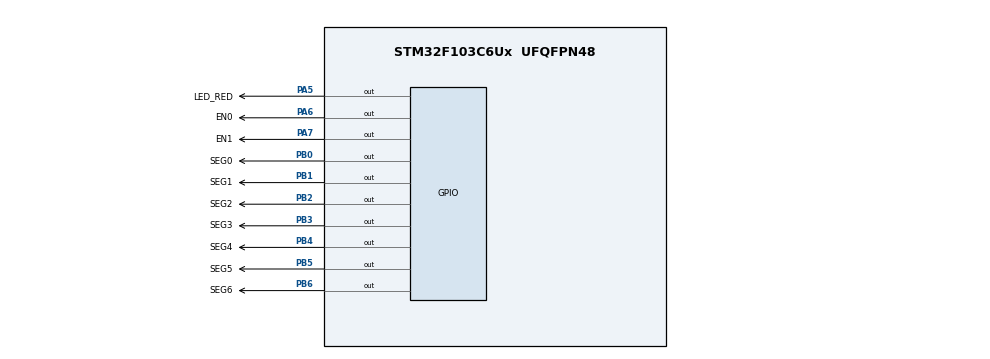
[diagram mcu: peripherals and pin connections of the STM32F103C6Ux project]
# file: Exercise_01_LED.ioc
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Mcu.Family=STM32F1
Mcu.Name=STM32F103C6Ux
Mcu.Package=UFQFPN48
NVIC.PriorityGroup=NVIC_PRIORITYGROUP_4
NVIC.TIM2_IRQn=true\:0\:0\:false\:false\:true\:true\:true\:true
PA5.GPIO_Label=LED_RED
PA5.Signal=GPIO_Output
PA6.GPIO_Label=EN0
PA6.Signal=GPIO_Output
PA7.GPIO_Label=EN1
PA7.Signal=GPIO_Output
PB0.GPIO_Label=SEG0
PB0.Signal=GPIO_Output
PB1.GPIO_Label=SEG1
PB1.Signal=GPIO_Output
PB2.GPIO_Label=SEG2
PB2.Signal=GPIO_Output
PB3.GPIO_Label=SEG3
PB3.Signal=GPIO_Output
PB4.GPIO_Label=SEG4
PB4.Signal=GPIO_Output
PB5.GPIO_Label=SEG5
PB5.Signal=GPIO_Output
PB6.GPIO_Label=SEG6
PB6.Signal=GPIO_Output
ProjectManager.HeapSize=0x200
ProjectManager.StackSize=0x400
ProjectManager.TargetToolchain=Makefile
RCC.APB1Freq_Value=8000000
RCC.APB2Freq_Value=8000000
TIM2.Period=9
TIM2.Prescaler=7999
VP_SYS_VS_ND.Mode=No_Debug
VP_TIM2_VS_ClockSourceINT.Mode=Internal
board=custom

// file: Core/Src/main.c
/* USER CODE BEGIN Header */
/**
  ******************************************************************************
  * @file           : main.c
  * @brief          : Main program body
  ******************************************************************************
  * @attention
  *
  * Copyright (c) 2026 STMicroelectronics.
  * All rights reserved.
  *
  * This software is licensed under terms that can be found in the LICENSE file
  * in the root directory of this software component.
  * If no LICENSE file comes with this software, it is provided AS-IS.
  *
  ******************************************************************************
  */
/* USER CODE END Header */
#include "main.h"

TIM_HandleTypeDef htim2;

void SystemClock_Config(void);
static void MX_GPIO_Init(void);
static void MX_TIM2_Init(void);

/* USER CODE BEGIN 0 */
void display7SEG(uint8_t num)
{
    // Common Anode
    // 0 = ON
    // 1 = OFF

    uint8_t seg[10][7] =
    {
        // A B C D E F G
        {0,0,0,0,0,0,1}, // 0
        {1,0,0,1,1,1,1}, // 1
        {0,0,1,0,0,1,0}, // 2
        {0,0,0,0,1,1,0}, // 3
        {1,0,0,1,1,0,0}, // 4
        {0,1,0,0,1,0,0}, // 5
        {0,1,0,0,0,0,0}, // 6
        {0,0,0,1,1,1,1}, // 7
        {0,0,0,0,0,0,0}, // 8
        {0,0,0,0,1,0,0}  // 9
    };

    HAL_GPIO_WritePin(SEG0_GPIO_Port, SEG0_Pin, seg[num][0]);
    HAL_GPIO_WritePin(SEG1_GPIO_Port, SEG1_Pin, seg[num][1]);
    HAL_GPIO_WritePin(SEG2_GPIO_Port, SEG2_Pin, seg[num][2]);
    HAL_GPIO_WritePin(SEG3_GPIO_Port, SEG3_Pin, seg[num][3]);
    HAL_GPIO_WritePin(SEG4_GPIO_Port, SEG4_Pin, seg[num][4]);
    HAL_GPIO_WritePin(SEG5_GPIO_Port, SEG5_Pin, seg[num][5]);
    HAL_GPIO_WritePin(SEG6_GPIO_Port, SEG6_Pin, seg[num][6]);
}

void SEG1_ON(void)
{
    HAL_GPIO_WritePin(
        EN0_GPIO_Port,
        EN0_Pin,
        GPIO_PIN_RESET
    );
}

void SEG1_OFF(void)
{
    HAL_GPIO_WritePin(
        EN0_GPIO_Port,
        EN0_Pin,
        GPIO_PIN_SET
    );
}

void SEG2_ON(void)
{
    HAL_GPIO_WritePin(
        EN1_GPIO_Port,
        EN1_Pin,
        GPIO_PIN_RESET
    );
}

void SEG2_OFF(void)
{
    HAL_GPIO_WritePin(
        EN1_GPIO_Port,
        EN1_Pin,
        GPIO_PIN_SET
    );
}

uint16_t scan_counter = 0;
uint8_t current_digit = 0;
/* USER CODE END 0 */

int main(void)
{

  /* MCU Configuration--------------------------------------------------------*/

  /* Reset of all peripherals, Initializes the Flash interface and the Systick. */
  HAL_Init();

  /* Configure the system clock */
  SystemClock_Config();

  /* Initialize all configured peripherals */
  MX_GPIO_Init();
  MX_TIM2_Init();
  /* USER CODE BEGIN 2 */
  SEG1_OFF();
  SEG2_OFF();

  display7SEG(0);
  HAL_TIM_Base_Start_IT(&htim2);
  /* USER CODE END 2 */

  /* Infinite loop */
  while (1)
  {

  }
}

void SystemClock_Config(void)
{
  RCC_OscInitTypeDef RCC_OscInitStruct = {0};
  RCC_ClkInitTypeDef RCC_ClkInitStruct = {0};

  /** Initializes the RCC Oscillators according to the specified parameters
  * in the RCC_OscInitTypeDef structure.
  */
  RCC_OscInitStruct.OscillatorType = RCC_OSCILLATORTYPE_HSI;
  RCC_OscInitStruct.HSIState = RCC_HSI_ON;
  RCC_OscInitStruct.HSICalibrationValue = RCC_HSICALIBRATION_DEFAULT;
  RCC_OscInitStruct.PLL.PLLState = RCC_PLL_NONE;
  if (HAL_RCC_OscConfig(&RCC_OscInitStruct) != HAL_OK)
  {
    Error_Handler();
  }

  /** Initializes the CPU, AHB and APB buses clocks
  */
  RCC_ClkInitStruct.ClockType = RCC_CLOCKTYPE_HCLK|RCC_CLOCKTYPE_SYSCLK
                              |RCC_CLOCKTYPE_PCLK1|RCC_CLOCKTYPE_PCLK2;
  RCC_ClkInitStruct.SYSCLKSource = RCC_SYSCLKSOURCE_HSI;
  RCC_ClkInitStruct.AHBCLKDivider = RCC_SYSCLK_DIV1;
  RCC_ClkInitStruct.APB1CLKDivider = RCC_HCLK_DIV1;
  RCC_ClkInitStruct.APB2CLKDivider = RCC_HCLK_DIV1;

  if (HAL_RCC_ClockConfig(&RCC_ClkInitStruct, FLASH_LATENCY_0) != HAL_OK)
  {
    Error_Handler();
  }
}

static void MX_TIM2_Init(void)
{

  TIM_ClockConfigTypeDef sClockSourceConfig = {0};
  TIM_MasterConfigTypeDef sMasterConfig = {0};

  htim2.Instance = TIM2;
  htim2.Init.Prescaler = 7999;
  htim2.Init.CounterMode = TIM_COUNTERMODE_UP;
  htim2.Init.Period = 9;
  htim2.Init.ClockDivision = TIM_CLOCKDIVISION_DIV1;
  htim2.Init.AutoReloadPreload = TIM_AUTORELOAD_PRELOAD_DISABLE;
  if (HAL_TIM_Base_Init(&htim2) != HAL_OK)
  {
    Error_Handler();
  }
  sClockSourceConfig.ClockSource = TIM_CLOCKSOURCE_INTERNAL;
  if (HAL_TIM_ConfigClockSource(&htim2, &sClockSourceConfig) != HAL_OK)
  {
    Error_Handler();
  }
  sMasterConfig.MasterOutputTrigger = TIM_TRGO_RESET;
  sMasterConfig.MasterSlaveMode = TIM_MASTERSLAVEMODE_DISABLE;
  if (HAL_TIMEx_MasterConfigSynchronization(&htim2, &sMasterConfig) != HAL_OK)
  {
    Error_Handler();
  }

}

static void MX_GPIO_Init(void)
{
  GPIO_InitTypeDef GPIO_InitStruct = {0};

  /* GPIO Ports Clock Enable */
  __HAL_RCC_GPIOA_CLK_ENABLE();
  __HAL_RCC_GPIOB_CLK_ENABLE();

  /*Configure GPIO pin Output Level */
  HAL_GPIO_WritePin(GPIOA, LED_RED_Pin|EN0_Pin|EN1_Pin, GPIO_PIN_RESET);

  /*Configure GPIO pin Output Level */
  HAL_GPIO_WritePin(GPIOB, SEG0_Pin|SEG1_Pin|SEG2_Pin|SEG3_Pin
                          |SEG4_Pin|SEG5_Pin|SEG6_Pin, GPIO_PIN_RESET);

  /*Configure GPIO pins : LED_RED_Pin EN0_Pin EN1_Pin */
  GPIO_InitStruct.Pin = LED_RED_Pin|EN0_Pin|EN1_Pin;
  GPIO_InitStruct.Mode = GPIO_MODE_OUTPUT_PP;
  GPIO_InitStruct.Pull = GPIO_NOPULL;
  GPIO_InitStruct.Speed = GPIO_SPEED_FREQ_LOW;
  HAL_GPIO_Init(GPIOA, &GPIO_InitStruct);

  /*Configure GPIO pins : SEG0_Pin SEG1_Pin SEG2_Pin SEG3_Pin
                           SEG4_Pin SEG5_Pin SEG6_Pin */
  GPIO_InitStruct.Pin = SEG0_Pin|SEG1_Pin|SEG2_Pin|SEG3_Pin
                          |SEG4_Pin|SEG5_Pin|SEG6_Pin;
  GPIO_InitStruct.Mode = GPIO_MODE_OUTPUT_PP;
  GPIO_InitStruct.Pull = GPIO_NOPULL;
  GPIO_InitStruct.Speed = GPIO_SPEED_FREQ_LOW;
  HAL_GPIO_Init(GPIOB, &GPIO_InitStruct);

}

/* USER CODE BEGIN 4 */
void HAL_TIM_PeriodElapsedCallback(TIM_HandleTypeDef *htim)
{
    if (htim->Instance == TIM2)
    {
        /*
         * TIM2 interrupt = 10 ms
         *
         * 50 interrupts = 500 ms
         */

        scan_counter++;

        if (scan_counter >= 50)
        {
            scan_counter = 0;

            if (current_digit == 0)
            {
                current_digit = 1;
            }
            else
            {
                current_digit = 0;
            }
        }

        /*
         * Always turn both displays OFF first.
         * This prevents both displays from being
         * enabled simultaneously.
         */

        SEG1_OFF();
        SEG2_OFF();

        /*
         * Display 1
         */

        if (current_digit == 0)
        {
            display7SEG(1);
            SEG1_ON();
        }

        /*
         * Display 2
         */

        else
        {
            display7SEG(2);
            SEG2_ON();
        }
    }
}

/* USER CODE END 4 */

void Error_Handler(void)
{
  __disable_irq();
  while (1)
  {
  }
}
